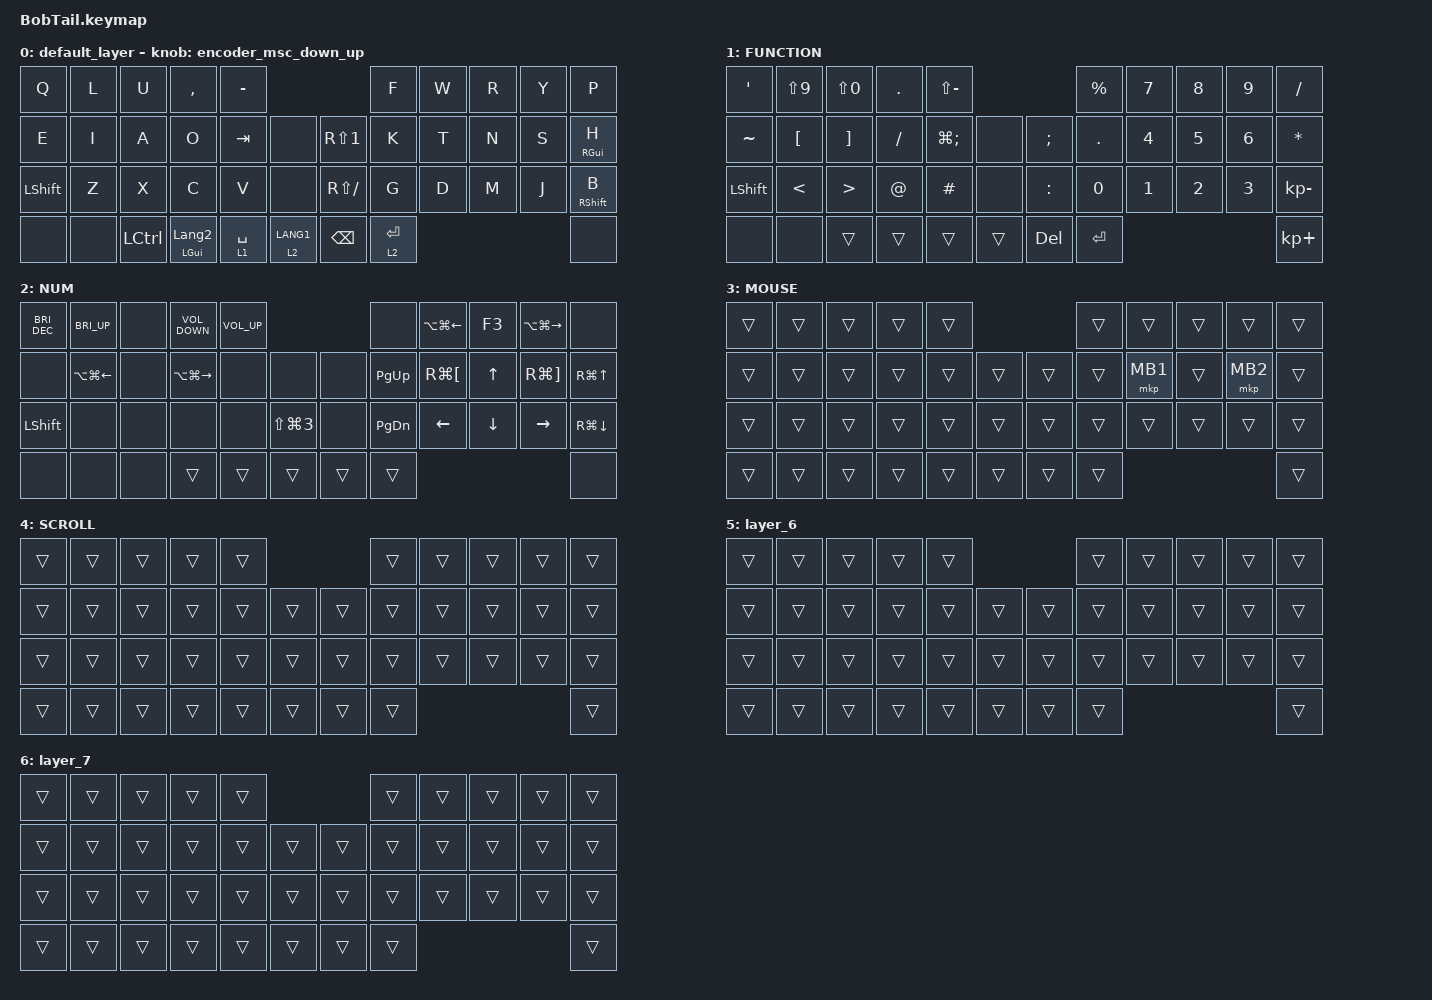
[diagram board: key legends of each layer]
#include <behaviors.dtsi>
#include <dt-bindings/zmk/keys.h>
#include <dt-bindings/zmk/pointing.h>

#define MOUSE 4
#define SCROLL 5
#define NUM 6
#define ZMK_POINTING_DEFAULT_SCRL_VAL 80

&mt {
    flavor = "balanced";
    quick-tap-ms = <0>;
};

/ {
    combos {
        compatible = "zmk,combos";

        lang_2 {
            bindings = <&kp LANG2>;
            key-positions = <24 25>;
        };

        lang_1 {
            bindings = <&kp LANG1>;
            key-positions = <31 30>;
        };

        cmd+f {
            bindings = <&kp LG(F)>;
            key-positions = <6 7>;
        };

        cmd+w {
            bindings = <&kp RG(W)>;
            key-positions = <1 2>;
        };

        katanaka {
            bindings = <&kp RC(K)>;
            key-positions = <7 8>;
        };

        mouse_left {
            bindings = <&mkp MB1>;
            key-positions = <18 19>;
        };

        mouse_right {
            bindings = <&mkp MB2>;
            key-positions = <19 20>;
        };

        esc {
            bindings = <&kp ESCAPE>;
            key-positions = <1 0>;
        };

        kuten {
            bindings = <&kp PERIOD>;
            key-positions = <2 3>;
        };
    };

    behaviors {
        encoder_msc_down_up: encoder_msc_down_up {
            compatible = "zmk,behavior-sensor-rotate";
            label = "ENCODER_MSC_DOWN_UP";
            #sensor-binding-cells = <0>;
            bindings = <&msc SCRL_UP>, <&msc SCRL_DOWN>;

            tap-ms = <20>;
        };
    };

    keymap {
        compatible = "zmk,keymap";

        default_layer {
            bindings = <
&kp Q           &kp L  &kp U             &kp COMMA                &kp MINUS                                       &kp F        &kp W  &kp R  &kp Y  &kp P
&kp E           &kp I  &kp A             &kp O                    &kp TAB      &none            &kp RS(NUMBER_1)  &kp K        &kp T  &kp N  &kp S  &mt RIGHT_GUI H
&kp LEFT_SHIFT  &kp Z  &kp X             &kp C                    &kp V        &none            &kp RS(SLASH)     &kp G        &kp D  &kp M  &kp J  &mt RIGHT_SHIFT B
&none           &none  &kp LEFT_CONTROL  &mt LEFT_GUI LANGUAGE_2  &lt 1 SPACE  &lt 2 LANG1      &kp BACKSPACE     &lt 2 ENTER                       &none
            >;

            sensor-bindings = <&encoder_msc_down_up>;
        };

        FUNCTION {
            bindings = <
&kp SINGLE_QUOTE  &kp LS(NUMBER_9)  &kp LS(NUMBER_0)   &kp PERIOD   &kp LS(MINUS)                          &kp PERCENT   &kp NUMBER_7  &kp NUMBER_8  &kp NUMBER_9  &kp SLASH
&kp TILDE         &kp LEFT_BRACKET  &kp RIGHT_BRACKET  &kp SLASH    &kp LG(SEMI)   &none       &kp SEMI    &kp PERIOD    &kp NUMBER_4  &kp NUMBER_5  &kp NUMBER_6  &kp ASTERISK
&kp LEFT_SHIFT    &kp LESS_THAN     &kp GREATER_THAN   &kp AT_SIGN  &kp HASH       &none       &kp COLON   &kp NUMBER_0  &kp NUMBER_1  &kp NUMBER_2  &kp NUMBER_3  &kp KP_MINUS
&none             &none             &trans             &trans       &trans         &trans      &kp DELETE  &kp ENTER                                               &kp KP_PLUS
            >;
        };

        NUM {
            bindings = <
&kp C_BRI_DEC   &kp C_BRI_UP            &none  &kp K_VOLUME_DOWN        &kp K_VOLUME_UP                                    &none          &kp LA(LG(LEFT_ARROW))  &kp F3        &kp LA(LG(RIGHT_ARROW))  &none
&none           &kp LA(LG(LEFT_ARROW))  &none  &kp LA(LG(RIGHT_ARROW))  &none            &none                     &none   &kp PAGE_UP    &kp RG(LEFT_BRACKET)    &kp UP_ARROW  &kp RG(RIGHT_BRACKET)    &kp RG(UP_ARROW)
&kp LEFT_SHIFT  &none                   &none  &none                    &none            &kp LS(LG(NUMBER_3))      &none   &kp PAGE_DOWN  &kp LEFT_ARROW          &kp DOWN      &kp RIGHT_ARROW          &kp RG(DOWN_ARROW)
&none           &none                   &none  &trans                   &trans           &trans                    &trans  &trans                                                                        &none
            >;
        };

        MOUSE {
            bindings = <
&trans  &trans  &trans  &trans  &trans                      &trans  &trans    &trans  &trans    &trans
&trans  &trans  &trans  &trans  &trans  &trans      &trans  &trans  &mkp MB1  &trans  &mkp MB2  &trans
&trans  &trans  &trans  &trans  &trans  &trans      &trans  &trans  &trans    &trans  &trans    &trans
&trans  &trans  &trans  &trans  &trans  &trans      &trans  &trans                              &trans
            >;
        };

        SCROLL {
            bindings = <
&trans  &trans  &trans  &trans  &trans                      &trans  &trans  &trans  &trans  &trans
&trans  &trans  &trans  &trans  &trans  &trans      &trans  &trans  &trans  &trans  &trans  &trans
&trans  &trans  &trans  &trans  &trans  &trans      &trans  &trans  &trans  &trans  &trans  &trans
&trans  &trans  &trans  &trans  &trans  &trans      &trans  &trans                          &trans
            >;
        };

        layer_6 {
            bindings = <
&trans  &trans  &trans  &trans  &trans                      &trans  &trans  &trans  &trans  &trans
&trans  &trans  &trans  &trans  &trans  &trans      &trans  &trans  &trans  &trans  &trans  &trans
&trans  &trans  &trans  &trans  &trans  &trans      &trans  &trans  &trans  &trans  &trans  &trans
&trans  &trans  &trans  &trans  &trans  &trans      &trans  &trans                          &trans
            >;
        };

        layer_7 {
            bindings = <
&trans  &trans  &trans  &trans  &trans                      &trans  &trans  &trans  &trans  &trans
&trans  &trans  &trans  &trans  &trans  &trans      &trans  &trans  &trans  &trans  &trans  &trans
&trans  &trans  &trans  &trans  &trans  &trans      &trans  &trans  &trans  &trans  &trans  &trans
&trans  &trans  &trans  &trans  &trans  &trans      &trans  &trans                          &trans
            >;
        };
    };
};
